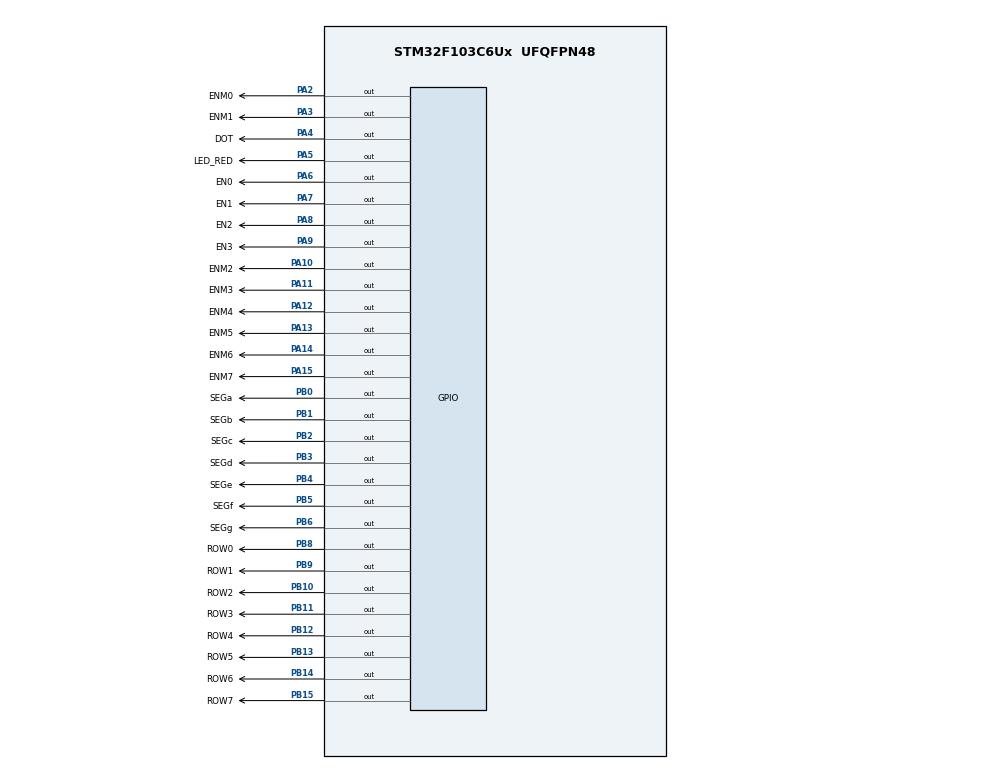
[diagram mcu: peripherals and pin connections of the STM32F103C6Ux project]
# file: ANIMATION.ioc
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Mcu.Family=STM32F1
Mcu.Name=STM32F103C6Ux
Mcu.Package=UFQFPN48
NVIC.PriorityGroup=NVIC_PRIORITYGROUP_4
NVIC.TIM2_IRQn=true\:0\:0\:false\:false\:true\:true\:true
PA10.GPIO_Label=ENM2
PA10.Signal=GPIO_Output
PA11.GPIO_Label=ENM3
PA11.Signal=GPIO_Output
PA12.GPIO_Label=ENM4
PA12.Signal=GPIO_Output
PA13.GPIO_Label=ENM5
PA13.Signal=GPIO_Output
PA14.GPIO_Label=ENM6
PA14.Signal=GPIO_Output
PA15.GPIO_Label=ENM7
PA15.Signal=GPIO_Output
PA2.GPIO_Label=ENM0
PA2.Signal=GPIO_Output
PA3.GPIO_Label=ENM1
PA3.Signal=GPIO_Output
PA4.GPIO_Label=DOT
PA4.Signal=GPIO_Output
PA5.GPIO_Label=LED_RED
PA5.Signal=GPIO_Output
PA6.GPIO_Label=EN0
PA6.Signal=GPIO_Output
PA7.GPIO_Label=EN1
PA7.Signal=GPIO_Output
PA8.GPIO_Label=EN2
PA8.Signal=GPIO_Output
PA9.GPIO_Label=EN3
PA9.Signal=GPIO_Output
PB0.GPIO_Label=SEGa
PB0.Signal=GPIO_Output
PB1.GPIO_Label=SEGb
PB1.Signal=GPIO_Output
PB10.GPIO_Label=ROW2
PB10.Signal=GPIO_Output
PB11.GPIO_Label=ROW3
PB11.Signal=GPIO_Output
PB12.GPIO_Label=ROW4
PB12.Signal=GPIO_Output
PB13.GPIO_Label=ROW5
PB13.Signal=GPIO_Output
PB14.GPIO_Label=ROW6
PB14.Signal=GPIO_Output
PB15.GPIO_Label=ROW7
PB15.Signal=GPIO_Output
PB2.GPIO_Label=SEGc
PB2.Signal=GPIO_Output
PB3.GPIO_Label=SEGd
PB3.Signal=GPIO_Output
PB4.GPIO_Label=SEGe
PB4.Signal=GPIO_Output
PB5.GPIO_Label=SEGf
PB5.Signal=GPIO_Output
PB6.GPIO_Label=SEGg
PB6.Signal=GPIO_Output
PB8.GPIO_Label=ROW0
PB8.Signal=GPIO_Output
PB9.GPIO_Label=ROW1
PB9.Signal=GPIO_Output
ProjectManager.HeapSize=0x200
ProjectManager.StackSize=0x400
ProjectManager.TargetToolchain=STM32CubeIDE
RCC.APB1Freq_Value=8000000
RCC.APB2Freq_Value=8000000
TIM2.Period=9
TIM2.Prescaler=7999
VP_SYS_VS_ND.Mode=No_Debug
VP_TIM2_VS_ClockSourceINT.Mode=Internal
board=custom

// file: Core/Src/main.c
/* USER CODE BEGIN Header */
/**
  ******************************************************************************
  * @file           : main.c
  * @brief          : Main program body
  ******************************************************************************
  * @attention
  *
  * <h2><center>&copy; Copyright (c) 2023 STMicroelectronics.
  * All rights reserved.</center></h2>
  *
  * This software component is licensed by ST under BSD 3-Clause license,
  * the "License"; You may not use this file except in compliance with the
  * License. You may obtain a copy of the License at:
  *                        opensource.org/licenses/BSD-3-Clause
  *
  ******************************************************************************
  */
/* USER CODE END Header */
#include "main.h"

/* USER CODE BEGIN Includes */
#include "software_timer.h"
/* USER CODE END Includes */

TIM_HandleTypeDef htim2;

void SystemClock_Config(void);
static void MX_GPIO_Init(void);
static void MX_TIM2_Init(void);

/* USER CODE BEGIN 0 */
void display7SEG(int num){
	const uint8_t sevenSegment[10] = {	0b00111111, // 0
										0b00000110, // 1
										0b01011011, // 2
										0b01001111, // 3
										0b01100110, // 4
										0b01101101, // 5
										0b01111101, // 6
										0b00000111, // 7
										0b01111111, // 8
										0b01101111  // 9
	};
	HAL_GPIO_WritePin(SEGa_GPIO_Port, SEGa_Pin, ((sevenSegment[num]) & 0x01) ? RESET : SET);
	HAL_GPIO_WritePin(SEGb_GPIO_Port, SEGb_Pin, ((sevenSegment[num] >> 1) & 0x01) ? RESET : SET);
	HAL_GPIO_WritePin(SEGc_GPIO_Port, SEGc_Pin, ((sevenSegment[num] >> 2) & 0x01) ? RESET : SET);
	HAL_GPIO_WritePin(SEGd_GPIO_Port, SEGd_Pin, ((sevenSegment[num] >> 3) & 0x01) ? RESET : SET);
	HAL_GPIO_WritePin(SEGe_GPIO_Port, SEGe_Pin, ((sevenSegment[num] >> 4) & 0x01) ? RESET : SET);
	HAL_GPIO_WritePin(SEGf_GPIO_Port, SEGf_Pin, ((sevenSegment[num] >> 5) & 0x01) ? RESET : SET);
	HAL_GPIO_WritePin(SEGg_GPIO_Port, SEGg_Pin, ((sevenSegment[num] >> 6) & 0x01) ? RESET : SET);
}

const int MAX_LED = 4;
int index_led = 0;
int led_buffer[4] = {2, 0, 2, 3};
void update7SEG(int index){
	display7SEG(led_buffer[index]);
    switch (index){
	case 0:
		//Display the first 7SEG with led_buffer[0]
		HAL_GPIO_WritePin(EN0_GPIO_Port, EN0_Pin, RESET);
		HAL_GPIO_WritePin(EN1_GPIO_Port, EN1_Pin, SET);
		HAL_GPIO_WritePin(EN2_GPIO_Port, EN2_Pin, SET);
		HAL_GPIO_WritePin(EN3_GPIO_Port, EN3_Pin, SET);
		break;
	case 1:
		//Display the second 7SEG with led_buffer[1]
		HAL_GPIO_WritePin(EN0_GPIO_Port, EN0_Pin, SET);
		HAL_GPIO_WritePin(EN1_GPIO_Port, EN1_Pin, RESET);
		HAL_GPIO_WritePin(EN2_GPIO_Port, EN2_Pin, SET);
		HAL_GPIO_WritePin(EN3_GPIO_Port, EN3_Pin, SET);
		break;
	case 2:
		//Display the third 7SEG with led_buffer[2]
		HAL_GPIO_WritePin(EN0_GPIO_Port, EN0_Pin, SET);
		HAL_GPIO_WritePin(EN1_GPIO_Port, EN1_Pin, SET);
		HAL_GPIO_WritePin(EN2_GPIO_Port, EN2_Pin, RESET);
		HAL_GPIO_WritePin(EN3_GPIO_Port, EN3_Pin, SET);
		break;
	case 3:
		//Display the forth 7SEG with led_buffer[3]
		HAL_GPIO_WritePin(EN0_GPIO_Port, EN0_Pin, SET);
		HAL_GPIO_WritePin(EN1_GPIO_Port, EN1_Pin, SET);
		HAL_GPIO_WritePin(EN2_GPIO_Port, EN2_Pin, SET);
		HAL_GPIO_WritePin(EN3_GPIO_Port, EN3_Pin, RESET);
		break;
	default:
		break;
    }
}

void updateClockBuffer(int hour, int minute){
	led_buffer[0] = hour / 10;
	led_buffer[1] = hour % 10;
	led_buffer[2] = minute / 10;
	led_buffer[3] = minute % 10;
}

const int MAX_LED_MATRIX = 8;
int index_led_matrix = 0;
uint8_t matrix_buffer[8] = {0b11100111,
							0b11000011,
							0b10011001,
							0b10011001,
							0b10000001,
							0b10000001,
							0b10011001,
							0b10011001};
void displayMatrix(int num, int index) {
	int matrix = ~matrix_buffer[num];
	HAL_GPIO_WritePin(ENM0_GPIO_Port, ENM0_Pin, matrix & 0x01 ? RESET : SET);
	HAL_GPIO_WritePin(ENM1_GPIO_Port, ENM1_Pin, (matrix>>1) & 0x01 ? RESET : SET);
	HAL_GPIO_WritePin(ENM2_GPIO_Port, ENM2_Pin, (matrix>>2) & 0x01 ? RESET : SET);
	HAL_GPIO_WritePin(ENM3_GPIO_Port, ENM3_Pin, (matrix>>3) & 0x01 ? RESET : SET);
	HAL_GPIO_WritePin(ENM4_GPIO_Port, ENM4_Pin, (matrix>>4) & 0x01 ? RESET : SET);
	HAL_GPIO_WritePin(ENM5_GPIO_Port, ENM5_Pin, (matrix>>5) & 0x01 ? RESET : SET);
	HAL_GPIO_WritePin(ENM6_GPIO_Port, ENM6_Pin, (matrix>>6) & 0x01 ? RESET : SET);
	HAL_GPIO_WritePin(ENM7_GPIO_Port, ENM7_Pin, (matrix>>7) & 0x01 ? RESET : SET);
}

void updateLEDMatrix(int index) {
	switch (index){
	case 0:	/* ROW0 */
		HAL_GPIO_WritePin(ROW0_GPIO_Port, ROW0_Pin, RESET);
		HAL_GPIO_WritePin(ROW0_GPIO_Port, ROW1_Pin | ROW2_Pin | ROW3_Pin | ROW4_Pin | ROW5_Pin | ROW6_Pin | ROW7_Pin, SET);
		displayMatrix(index);
		break;
	case 1:	/* ROW1 */
		HAL_GPIO_WritePin(ROW1_GPIO_Port, ROW1_Pin, RESET);
		HAL_GPIO_WritePin(ROW1_GPIO_Port, ROW0_Pin | ROW2_Pin | ROW3_Pin | ROW4_Pin | ROW5_Pin | ROW6_Pin | ROW7_Pin, SET);
		displayMatrix(index);
		break;
	case 2:	/* ROW2 */
		HAL_GPIO_WritePin(ROW2_GPIO_Port, ROW2_Pin, RESET);
		HAL_GPIO_WritePin(ROW2_GPIO_Port, ROW1_Pin | ROW0_Pin | ROW3_Pin | ROW4_Pin | ROW5_Pin | ROW6_Pin | ROW7_Pin, SET);
		displayMatrix(index);
		break;
	case 3:	/* ROW3 */
		HAL_GPIO_WritePin(ROW3_GPIO_Port, ROW3_Pin, RESET);
		HAL_GPIO_WritePin(ROW3_GPIO_Port, ROW1_Pin | ROW2_Pin | ROW0_Pin | ROW4_Pin | ROW5_Pin | ROW6_Pin | ROW7_Pin, SET);
		displayMatrix(index);
		break;
	case 4:	/* ROW4 */
		HAL_GPIO_WritePin(ROW4_GPIO_Port, ROW4_Pin, RESET);
		HAL_GPIO_WritePin(ROW4_GPIO_Port, ROW1_Pin | ROW2_Pin | ROW3_Pin | ROW0_Pin | ROW5_Pin | ROW6_Pin | ROW7_Pin, SET);
		displayMatrix(index);
		break;
	case 5:	/* ROW5 */
		HAL_GPIO_WritePin(ROW5_GPIO_Port, ROW5_Pin, RESET);
		HAL_GPIO_WritePin(ROW5_GPIO_Port, ROW1_Pin | ROW2_Pin | ROW3_Pin | ROW4_Pin | ROW0_Pin | ROW6_Pin | ROW7_Pin, SET);
		displayMatrix(index);
		break;
	case 6:	/* ROW6 */
		HAL_GPIO_WritePin(ROW6_GPIO_Port, ROW6_Pin, RESET);
		HAL_GPIO_WritePin(ROW6_GPIO_Port, ROW1_Pin | ROW2_Pin | ROW3_Pin | ROW4_Pin | ROW5_Pin | ROW0_Pin | ROW7_Pin, SET);
		displayMatrix(index);
		break;
	case 7:	/* ROW7 */
		HAL_GPIO_WritePin(ROW7_GPIO_Port, ROW7_Pin, RESET);
		HAL_GPIO_WritePin(ROW7_GPIO_Port, ROW1_Pin | ROW2_Pin | ROW3_Pin | ROW4_Pin | ROW5_Pin | ROW6_Pin | ROW0_Pin, SET);
		displayMatrix(index);
		break;
	default:
		break;
	}
}

void matrixAnimation() {
	int temp = matrix_buffer[0];
	matrix_buffer[0] = matrix_buffer[7];
	matrix_buffer[7] = matrix_buffer[6];
	matrix_buffer[6] = matrix_buffer[5];
	matrix_buffer[5] = matrix_buffer[4];
	matrix_buffer[4] = matrix_buffer[3];
	matrix_buffer[3] = matrix_buffer[2];
	matrix_buffer[2] = matrix_buffer[1];
	matrix_buffer[1] = temp;
}
/* USER CODE END 0 */

int main(void)
{

  /* MCU Configuration--------------------------------------------------------*/

  /* Reset of all peripherals, Initializes the Flash interface and the Systick. */
  HAL_Init();

  /* Configure the system clock */
  SystemClock_Config();

  /* Initialize all configured peripherals */
  MX_GPIO_Init();
  MX_TIM2_Init();
  /* USER CODE BEGIN 2 */
  HAL_TIM_Base_Start_IT(&htim2);
  /* USER CODE END 2 */

  /* Infinite loop */
  /* USER CODE BEGIN WHILE */
  int hour = 15, minute = 8, second = 50;
  setTimer0(10);
  setTimer1(10);
  setTimer2(10);
  setTimer3(10);
  updateClockBuffer(hour, minute);
  while (1)
  {
    /* USER CODE END WHILE */

    /* USER CODE BEGIN 3 */
	  if(timer_flag[0] == 1){
		setTimer0(1000);
		second++;
		if(second >= 60){
			second = 0;
			minute++;
		}
		if(minute >= 60){
			minute = 0;
			hour++;
		}
		if(hour >= 24){
			hour = 0;
		}
		updateClockBuffer(hour, minute);
	  }
	  if(timer_flag[1] == 1){
		  setTimer1(500);
		  HAL_GPIO_TogglePin(DOT_GPIO_Port, DOT_Pin);
	  }
	  if(timer_flag[2] == 1){
		  setTimer2(250);
		  update7SEG(index_led++);
		  if(index_led == MAX_LED){
			  index_led = 0;
		  }
	  }
	  if(timer_flag[3] == 1) {
		  setTimer3(250);
		  updateLEDMatrix(index_led_matrix++);
		  if(index_led_matrix == MAX_LED_MATRIX){
			  matrixAnimation();
			  index_led_matrix = 0;
		  }
	  }
  }
  /* USER CODE END 3 */
}

void SystemClock_Config(void)
{
  RCC_OscInitTypeDef RCC_OscInitStruct = {0};
  RCC_ClkInitTypeDef RCC_ClkInitStruct = {0};

  /** Initializes the RCC Oscillators according to the specified parameters
  * in the RCC_OscInitTypeDef structure.
  */
  RCC_OscInitStruct.OscillatorType = RCC_OSCILLATORTYPE_HSI;
  RCC_OscInitStruct.HSIState = RCC_HSI_ON;
  RCC_OscInitStruct.HSICalibrationValue = RCC_HSICALIBRATION_DEFAULT;
  RCC_OscInitStruct.PLL.PLLState = RCC_PLL_NONE;
  if (HAL_RCC_OscConfig(&RCC_OscInitStruct) != HAL_OK)
  {
    Error_Handler();
  }
  /** Initializes the CPU, AHB and APB buses clocks
  */
  RCC_ClkInitStruct.ClockType = RCC_CLOCKTYPE_HCLK|RCC_CLOCKTYPE_SYSCLK
                              |RCC_CLOCKTYPE_PCLK1|RCC_CLOCKTYPE_PCLK2;
  RCC_ClkInitStruct.SYSCLKSource = RCC_SYSCLKSOURCE_HSI;
  RCC_ClkInitStruct.AHBCLKDivider = RCC_SYSCLK_DIV1;
  RCC_ClkInitStruct.APB1CLKDivider = RCC_HCLK_DIV1;
  RCC_ClkInitStruct.APB2CLKDivider = RCC_HCLK_DIV1;

  if (HAL_RCC_ClockConfig(&RCC_ClkInitStruct, FLASH_LATENCY_0) != HAL_OK)
  {
    Error_Handler();
  }
}

static void MX_TIM2_Init(void)
{

  TIM_ClockConfigTypeDef sClockSourceConfig = {0};
  TIM_MasterConfigTypeDef sMasterConfig = {0};

  htim2.Instance = TIM2;
  htim2.Init.Prescaler = 7999;
  htim2.Init.CounterMode = TIM_COUNTERMODE_UP;
  htim2.Init.Period = 9;
  htim2.Init.ClockDivision = TIM_CLOCKDIVISION_DIV1;
  htim2.Init.AutoReloadPreload = TIM_AUTORELOAD_PRELOAD_DISABLE;
  if (HAL_TIM_Base_Init(&htim2) != HAL_OK)
  {
    Error_Handler();
  }
  sClockSourceConfig.ClockSource = TIM_CLOCKSOURCE_INTERNAL;
  if (HAL_TIM_ConfigClockSource(&htim2, &sClockSourceConfig) != HAL_OK)
  {
    Error_Handler();
  }
  sMasterConfig.MasterOutputTrigger = TIM_TRGO_RESET;
  sMasterConfig.MasterSlaveMode = TIM_MASTERSLAVEMODE_DISABLE;
  if (HAL_TIMEx_MasterConfigSynchronization(&htim2, &sMasterConfig) != HAL_OK)
  {
    Error_Handler();
  }

}

static void MX_GPIO_Init(void)
{
  GPIO_InitTypeDef GPIO_InitStruct = {0};

  /* GPIO Ports Clock Enable */
  __HAL_RCC_GPIOA_CLK_ENABLE();
  __HAL_RCC_GPIOB_CLK_ENABLE();

  /*Configure GPIO pin Output Level */
  HAL_GPIO_WritePin(GPIOA, ENM0_Pin|ENM1_Pin|DOT_Pin|LED_RED_Pin
                          |EN0_Pin|EN1_Pin|EN2_Pin|EN3_Pin
                          |ENM2_Pin|ENM3_Pin|ENM4_Pin|ENM5_Pin
                          |ENM6_Pin|ENM7_Pin, GPIO_PIN_RESET);

  /*Configure GPIO pin Output Level */
  HAL_GPIO_WritePin(GPIOB, SEGa_Pin|SEGb_Pin|SEGc_Pin|ROW2_Pin
                          |ROW3_Pin|ROW4_Pin|ROW5_Pin|ROW6_Pin
                          |ROW7_Pin|SEGd_Pin|SEGe_Pin|SEGf_Pin
                          |SEGg_Pin|ROW0_Pin|ROW1_Pin, GPIO_PIN_RESET);

  /*Configure GPIO pins : ENM0_Pin ENM1_Pin DOT_Pin LED_RED_Pin
                           EN0_Pin EN1_Pin EN2_Pin EN3_Pin
                           ENM2_Pin ENM3_Pin ENM4_Pin ENM5_Pin
                           ENM6_Pin ENM7_Pin */
  GPIO_InitStruct.Pin = ENM0_Pin|ENM1_Pin|DOT_Pin|LED_RED_Pin
                          |EN0_Pin|EN1_Pin|EN2_Pin|EN3_Pin
                          |ENM2_Pin|ENM3_Pin|ENM4_Pin|ENM5_Pin
                          |ENM6_Pin|ENM7_Pin;
  GPIO_InitStruct.Mode = GPIO_MODE_OUTPUT_PP;
  GPIO_InitStruct.Pull = GPIO_NOPULL;
  GPIO_InitStruct.Speed = GPIO_SPEED_FREQ_LOW;
  HAL_GPIO_Init(GPIOA, &GPIO_InitStruct);

  /*Configure GPIO pins : SEGa_Pin SEGb_Pin SEGc_Pin ROW2_Pin
                           ROW3_Pin ROW4_Pin ROW5_Pin ROW6_Pin
                           ROW7_Pin SEGd_Pin SEGe_Pin SEGf_Pin
                           SEGg_Pin ROW0_Pin ROW1_Pin */
  GPIO_InitStruct.Pin = SEGa_Pin|SEGb_Pin|SEGc_Pin|ROW2_Pin
                          |ROW3_Pin|ROW4_Pin|ROW5_Pin|ROW6_Pin
                          |ROW7_Pin|SEGd_Pin|SEGe_Pin|SEGf_Pin
                          |SEGg_Pin|ROW0_Pin|ROW1_Pin;
  GPIO_InitStruct.Mode = GPIO_MODE_OUTPUT_PP;
  GPIO_InitStruct.Pull = GPIO_NOPULL;
  GPIO_InitStruct.Speed = GPIO_SPEED_FREQ_LOW;
  HAL_GPIO_Init(GPIOB, &GPIO_InitStruct);

}

/* USER CODE BEGIN 4 */

void HAL_TIM_PeriodElapsedCallback(TIM_HandleTypeDef *htim){
	timer_run();
}
/* USER CODE END 4 */

void Error_Handler(void)
{
  __disable_irq();
  while (1)
  {
  }
}

/************************ (C) COPYRIGHT STMicroelectronics *****END OF FILE****/
